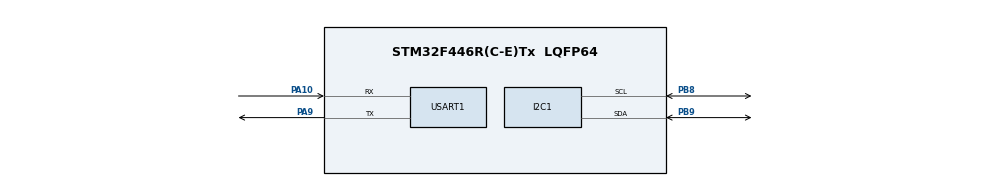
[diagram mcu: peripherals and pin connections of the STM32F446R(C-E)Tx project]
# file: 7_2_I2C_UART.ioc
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Mcu.Family=STM32F4
Mcu.Name=STM32F446R(C-E)Tx
Mcu.Package=LQFP64
NVIC.PriorityGroup=NVIC_PRIORITYGROUP_4
NVIC.USART1_IRQn=true\:0\:0\:false\:false\:true\:true\:true\:true
PA10.Mode=Asynchronous
PA10.Signal=USART1_RX
PA9.Mode=Asynchronous
PA9.Signal=USART1_TX
PB8.Mode=I2C
PB8.Signal=I2C1_SCL
PB9.Mode=I2C
PB9.Signal=I2C1_SDA
ProjectManager.HeapSize=0x200
ProjectManager.StackSize=0x400
ProjectManager.TargetToolchain=STM32CubeIDE
RCC.CortexFreq_Value=16000000
RCC.USBFreq_Value=96000000
RCC.VCOOutputFreq_Value=192000000
USART1.VirtualMode=VM_ASYNC
board=custom

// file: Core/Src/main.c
/* USER CODE BEGIN Header */
/**
  ******************************************************************************
  * @file           : main.c
  * @brief          : Main program body
  ******************************************************************************
  * @attention
  *
  * Copyright (c) 2026 STMicroelectronics.
  * All rights reserved.
  *
  * This software is licensed under terms that can be found in the LICENSE file
  * in the root directory of this software component.
  * If no LICENSE file comes with this software, it is provided AS-IS.
  *
  ******************************************************************************
  */
/* USER CODE END Header */
#include "main.h"

/* USER CODE BEGIN Includes */
#include <stdio.h>
#include "ds3231.h"
#include "ch340g.h"
/* USER CODE END Includes */

I2C_HandleTypeDef hi2c1;

UART_HandleTypeDef huart1;

/* USER CODE BEGIN PV */
DS3231_Time now;
uint8_t last_second = 0xFF;
char line[CH340G_RX_LINE_SIZE];
/* USER CODE END PV */

void SystemClock_Config(void);
static void MX_GPIO_Init(void);
static void MX_I2C1_Init(void);
static void MX_USART1_UART_Init(void);

/* USER CODE BEGIN 0 */
static void handle_command(const char *cmd)
{
  int d, mo, y, h, mi, s;

  int valid = (sscanf(cmd, "SET %d/%d/%d %d:%d:%d", &d, &mo, &y, &h, &mi, &s) == 6)
           && d  >= 1    && d  <= 31
           && mo >= 1    && mo <= 12
           && y  >= 2000 && y  <= 2099
           && h  >= 0    && h  <= 23
           && mi >= 0    && mi <= 59
           && s  >= 0    && s  <= 59;

  if (!valid)
  {
    CH340G_Send("Error. Use: SET dd/mm/yyyy hh:mm:ss\r\n");
    return;
  }

  DS3231_Time t = { .second = (uint8_t)s,
                    .minute = (uint8_t)mi,
                    .hour   = (uint8_t)h,
                    .day    = DS3231_DayOfWeek((uint8_t)d, (uint8_t)mo, (uint16_t)y),
                    .date   = (uint8_t)d,
                    .month  = (uint8_t)mo,
                    .year   = (uint8_t)(y - 2000) };

  if (DS3231_SetTime(&t) == HAL_OK)
  {
    CH340G_Send("Time set\r\n");
    last_second = 0xFF;   // print the new time right away
  }
  else
  {
    CH340G_Send("I2C error\r\n");
  }
}
/* USER CODE END 0 */

int main(void)
{

  /* MCU Configuration--------------------------------------------------------*/

  /* Reset of all peripherals, Initializes the Flash interface and the Systick. */
  HAL_Init();

  /* Configure the system clock */
  SystemClock_Config();

  /* Initialize all configured peripherals */
  MX_GPIO_Init();
  MX_I2C1_Init();
  MX_USART1_UART_Init();
  /* USER CODE BEGIN 2 */
  CH340G_Init(&huart1);

  if (DS3231_Init(&hi2c1) != HAL_OK)
  {
    CH340G_Send("DS3231 not found\r\n");
  }
  CH340G_Send("Set time: SET dd/mm/yyyy hh:mm:ss\r\n");
  /* USER CODE END 2 */

  /* Infinite loop */
  while (1)
  {

    /* USER CODE BEGIN 3 */
    if (CH340G_ReadLine(line, sizeof(line)))
    {
      handle_command(line);
    }

    if (DS3231_GetTime(&now) == HAL_OK && now.second != last_second)
    {
      last_second = now.second;
      CH340G_Printf("%02d/%02d/%04d %02d:%02d:%02d\r\n",
                    now.date, now.month, 2000 + now.year,
                    now.hour, now.minute, now.second);
    }
    HAL_Delay(100);
  }
  /* USER CODE END 3 */
}

void SystemClock_Config(void)
{
  RCC_OscInitTypeDef RCC_OscInitStruct = {0};
  RCC_ClkInitTypeDef RCC_ClkInitStruct = {0};

  /** Configure the main internal regulator output voltage
  */
  __HAL_RCC_PWR_CLK_ENABLE();
  __HAL_PWR_VOLTAGESCALING_CONFIG(PWR_REGULATOR_VOLTAGE_SCALE3);

  /** Initializes the RCC Oscillators according to the specified parameters
  * in the RCC_OscInitTypeDef structure.
  */
  RCC_OscInitStruct.OscillatorType = RCC_OSCILLATORTYPE_HSI;
  RCC_OscInitStruct.HSIState = RCC_HSI_ON;
  RCC_OscInitStruct.HSICalibrationValue = RCC_HSICALIBRATION_DEFAULT;
  RCC_OscInitStruct.PLL.PLLState = RCC_PLL_NONE;
  if (HAL_RCC_OscConfig(&RCC_OscInitStruct) != HAL_OK)
  {
    Error_Handler();
  }

  /** Initializes the CPU, AHB and APB buses clocks
  */
  RCC_ClkInitStruct.ClockType = RCC_CLOCKTYPE_HCLK|RCC_CLOCKTYPE_SYSCLK
                              |RCC_CLOCKTYPE_PCLK1|RCC_CLOCKTYPE_PCLK2;
  RCC_ClkInitStruct.SYSCLKSource = RCC_SYSCLKSOURCE_HSI;
  RCC_ClkInitStruct.AHBCLKDivider = RCC_SYSCLK_DIV1;
  RCC_ClkInitStruct.APB1CLKDivider = RCC_HCLK_DIV1;
  RCC_ClkInitStruct.APB2CLKDivider = RCC_HCLK_DIV1;

  if (HAL_RCC_ClockConfig(&RCC_ClkInitStruct, FLASH_LATENCY_0) != HAL_OK)
  {
    Error_Handler();
  }
}

static void MX_I2C1_Init(void)
{

  hi2c1.Instance = I2C1;
  hi2c1.Init.ClockSpeed = 100000;
  hi2c1.Init.DutyCycle = I2C_DUTYCYCLE_2;
  hi2c1.Init.OwnAddress1 = 0;
  hi2c1.Init.AddressingMode = I2C_ADDRESSINGMODE_7BIT;
  hi2c1.Init.DualAddressMode = I2C_DUALADDRESS_DISABLE;
  hi2c1.Init.OwnAddress2 = 0;
  hi2c1.Init.GeneralCallMode = I2C_GENERALCALL_DISABLE;
  hi2c1.Init.NoStretchMode = I2C_NOSTRETCH_DISABLE;
  if (HAL_I2C_Init(&hi2c1) != HAL_OK)
  {
    Error_Handler();
  }

}

static void MX_USART1_UART_Init(void)
{

  huart1.Instance = USART1;
  huart1.Init.BaudRate = 115200;
  huart1.Init.WordLength = UART_WORDLENGTH_8B;
  huart1.Init.StopBits = UART_STOPBITS_1;
  huart1.Init.Parity = UART_PARITY_NONE;
  huart1.Init.Mode = UART_MODE_TX_RX;
  huart1.Init.HwFlowCtl = UART_HWCONTROL_NONE;
  huart1.Init.OverSampling = UART_OVERSAMPLING_16;
  if (HAL_UART_Init(&huart1) != HAL_OK)
  {
    Error_Handler();
  }

}

static void MX_GPIO_Init(void)
{

  /* GPIO Ports Clock Enable */
  __HAL_RCC_GPIOA_CLK_ENABLE();
  __HAL_RCC_GPIOB_CLK_ENABLE();

}

/* USER CODE BEGIN 4 */
void HAL_UART_RxCpltCallback(UART_HandleTypeDef *huart)
{
  CH340G_RxCallback(huart);
}

void HAL_UART_ErrorCallback(UART_HandleTypeDef *huart)
{
  CH340G_ErrorCallback(huart);
}
/* USER CODE END 4 */

void Error_Handler(void)
{
  __disable_irq();
  while (1)
  {
  }
}
